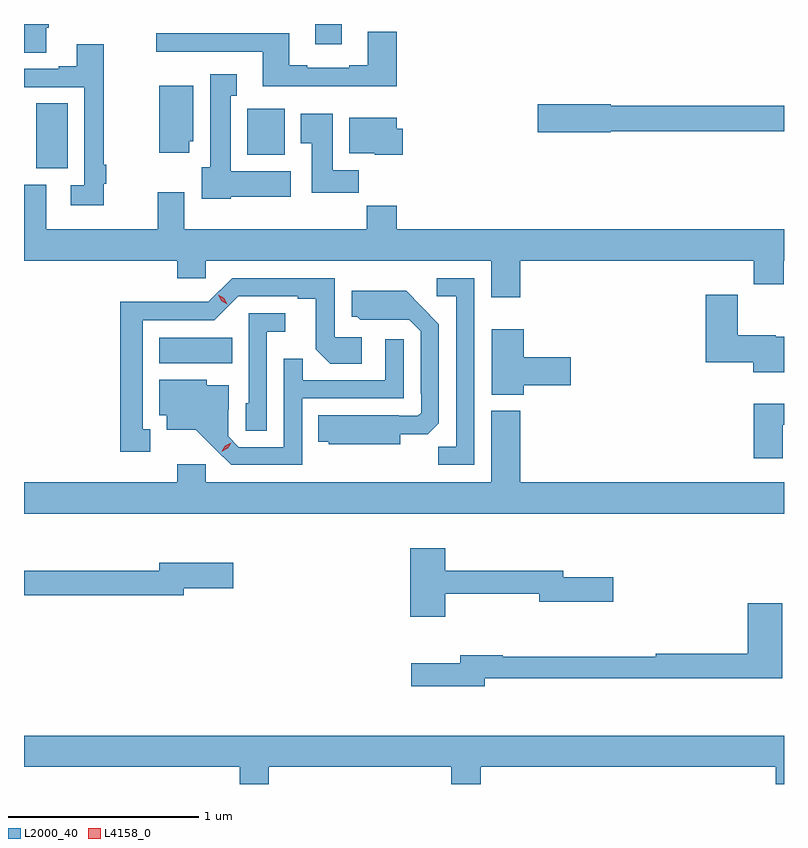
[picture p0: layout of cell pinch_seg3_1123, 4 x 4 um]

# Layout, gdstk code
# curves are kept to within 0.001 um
import gdstk
lib = gdstk.Library(unit=1e-6, precision=1e-09)
def R(c, l, rs):  # rectangles x0, y0, x1, y1
    for r in rs: c.add(gdstk.rectangle(r[:2], r[2:], *l))
def P(c, l, *ps):  # polygons
    for p in ps: c.add(gdstk.Polygon(p, *l))
L2000_40 = (2000, 40)
L4158_0 = (4158, 0)

pinch_seg3_1123 = lib.new_cell('pinch_seg3_1123')
R(pinch_seg3_1123, L2000_40, [(324.074,691.052,324.458,691.186), (323.426,692.077,323.59,692.42), (324.536,692.15,324.733,692.392), (324.893,692.73,325.033,692.837)])
P(pinch_seg3_1123, L2000_40, [(323.479,692.818),(323.492,692.818),(323.492,692.837),(323.361,692.837),(323.361,692.686),(323.479,692.686)],
  [(325.322,692.797),(325.169,692.797),(325.169,692.62),(325.073,692.62),(325.073,692.607),(324.853,692.607),(324.853,692.62),(324.757,692.62),(324.757,692.788),(324.057,692.788),(324.057,692.691),(324.617,692.691),(324.617,692.51),(325.322,692.51)],
  [(323.78,691.996),(323.795,691.996),(323.795,692.096),(323.78,692.096),(323.78,692.731),(323.639,692.731),(323.639,692.614),(323.543,692.614),(323.543,692.601),(323.361,692.601),(323.361,692.505),(323.679,692.505),(323.679,691.989),(323.607,691.989),(323.607,691.884),(323.78,691.884)],
  [(324.45,691.928),(324.766,691.928),(324.766,692.062),(324.448,692.062),(324.448,692.459),(324.481,692.459),(324.481,692.572),(324.341,692.572),(324.341,692.082),(324.296,692.082),(324.296,691.916),(324.45,691.916)],
  [(324.232,692.22),(324.253,692.22),(324.253,692.512),(324.074,692.512),(324.074,692.16),(324.232,692.16)],
  [(326.448,692.272),(327.361,692.272),(327.361,692.408),(326.448,692.408),(326.448,692.414),(326.064,692.414),(326.064,692.267),(326.448,692.267)],
  [(325.124,692.068),(324.985,692.068),(324.985,692.365),(324.818,692.365),(324.818,692.209),(324.875,692.209),(324.875,691.95),(325.124,691.95)],
  [(325.355,692.286),(325.324,692.286),(325.324,692.344),(325.073,692.344),(325.073,692.156),(325.206,692.156),(325.206,692.15),(325.355,692.15)],
  [(325.973,691.592),(327.203,691.592),(327.203,691.468),(327.359,691.468),(327.359,691.592),(327.361,691.592),(327.361,691.756),(325.322,691.756),(325.322,691.88),(325.165,691.88),(325.165,691.756),(324.205,691.756),(324.205,691.951),(324.065,691.951),(324.065,691.756),(323.479,691.756),(323.479,691.992),(323.361,691.992),(323.361,691.592),(324.167,691.592),(324.167,691.499),(324.318,691.499),(324.318,691.592),(325.82,691.592),(325.82,691.398),(325.973,691.398)],
  [(325.731,691.5),(325.533,691.5),(325.533,691.404),(325.635,691.404),(325.635,690.611),(325.54,690.611),(325.54,690.516),(325.731,690.516)],
  [(324.025,690.705),(323.986,690.705),(323.986,691.278),(324.363,691.278),(324.489,691.404),(324.803,691.404),(324.803,691.392),(324.897,691.392),(324.897,691.124),(324.973,691.048),(325.138,691.048),(325.138,691.188),(324.996,691.188),(324.996,691.5),(324.456,691.5),(324.33,691.374),(324.108,691.374),(324.108,691.376),(323.868,691.376),(323.868,690.585),(324.025,690.585)],
  [(325.342,690.677),(325.486,690.677),(325.545,690.736),(325.545,691.258),(325.373,691.432),(325.085,691.432),(325.085,691.296),(325.116,691.296),(325.132,691.28),(325.389,691.281),(325.449,691.221),(325.449,690.892),(325.452,690.892),(325.452,690.792),(325.434,690.774),(325.334,690.774),(325.334,690.778),(324.91,690.778),(324.91,690.638),(324.966,690.638),(324.966,690.626),(325.342,690.626)],
  [(327.361,691.192),(327.318,691.192),(327.318,691.198),(327.118,691.198),(327.118,691.411),(326.948,691.411),(326.948,691.058),(327.2,691.058),(327.2,691.004),(327.361,691.004)],
  [(324.639,691.217),(324.736,691.217),(324.736,691.314),(324.543,691.314),(324.543,690.84),(324.528,690.84),(324.528,690.697),(324.639,690.697)],
  [(325.99,690.935),(326.239,690.935),(326.239,691.082),(325.99,691.082),(325.99,691.231),(325.823,691.231),(325.823,690.887),(325.99,690.887)],
  [(324.825,690.867),(325.359,690.867),(325.359,691.177),(325.263,691.177),(325.263,690.963),(324.827,690.963),(324.827,691.076),(324.729,691.076),(324.729,690.609),(324.492,690.609),(324.435,690.666),(324.435,690.808),(324.439,690.808),(324.439,690.937),(324.324,690.937),(324.324,690.964),(324.074,690.964),(324.074,690.777),(324.113,690.777),(324.113,690.701),(324.265,690.701),(324.452,690.516),(324.825,690.516)],
  [(327.355,690.729),(327.361,690.729),(327.361,690.838),(327.203,690.838),(327.203,690.552),(327.355,690.552)],
  [(327.361,690.424),(325.973,690.424),(325.973,690.802),(325.82,690.802),(325.82,690.424),(324.318,690.424),(324.318,690.52),(324.167,690.52),(324.167,690.424),(323.361,690.424),(323.361,690.26),(327.361,690.26)],
  [(325.577,689.838),(326.072,689.838),(326.072,689.795),(326.461,689.795),(326.461,689.925),(326.2,689.925),(326.2,689.959),(325.577,689.959),(325.577,690.079),(325.394,690.079),(325.394,689.718),(325.577,689.718)],
  [(324.202,689.867),(324.463,689.867),(324.463,690.001),(324.074,690.001),(324.074,689.959),(323.361,689.959),(323.361,689.83),(324.202,689.83)],
  [(325.786,689.394),(327.353,689.394),(327.353,689.788),(327.17,689.788),(327.17,689.522),(326.686,689.522),(326.686,689.507),(325.882,689.507),(325.882,689.515),(325.658,689.515),(325.658,689.473),(325.398,689.473),(325.398,689.351),(325.786,689.351)],
  [(324.649,688.928),(325.609,688.928),(325.609,688.837),(325.766,688.837),(325.766,688.928),(327.317,688.928),(327.317,688.837),(327.361,688.837),(327.361,689.092),(323.361,689.092),(323.361,688.928),(324.497,688.928),(324.497,688.837),(324.649,688.837)])
P(pinch_seg3_1123, L4158_0, [(324.403,690.588),(324.403,690.588),(324.421,690.618),(324.452,690.633),(324.452,690.633),(324.452,690.633),(324.434,690.603),(324.404,690.588)],
  [(324.432,691.361),(324.4,691.38),(324.383,691.413),(324.383,691.413),(324.383,691.413),(324.415,691.394),(324.432,691.361),(324.432,691.361)])

lib.write_gds('pinch_seg3_1123.gds')
